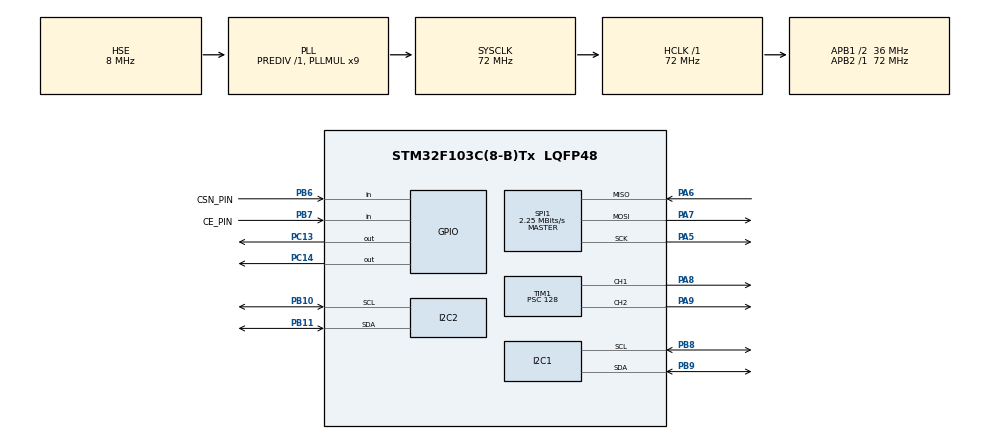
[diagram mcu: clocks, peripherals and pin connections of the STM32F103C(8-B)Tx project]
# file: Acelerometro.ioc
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I2C1.I2C_Mode=I2C_Fast
I2C2.I2C_Mode=I2C_Fast
Mcu.Family=STM32F1
Mcu.Name=STM32F103C(8-B)Tx
Mcu.Package=LQFP48
NVIC.PriorityGroup=NVIC_PRIORITYGROUP_4
PA13.Mode=Serial_Wire
PA13.Signal=SYS_JTMS-SWDIO
PA14.Mode=Serial_Wire
PA14.Signal=SYS_JTCK-SWCLK
PA5.Mode=Full_Duplex_Master
PA5.Signal=SPI1_SCK
PA6.Mode=Full_Duplex_Master
PA6.Signal=SPI1_MISO
PA7.Mode=Full_Duplex_Master
PA7.Signal=SPI1_MOSI
PA8.Signal=S_TIM1_CH1
PA9.Signal=S_TIM1_CH2
PB10.Mode=I2C
PB10.Signal=I2C2_SCL
PB11.Mode=I2C
PB11.Signal=I2C2_SDA
PB6.GPIO_Label=CSN_PIN
PB6.Signal=GPIO_Input
PB7.GPIO_Label=CE_PIN
PB7.Signal=GPIO_Input
PB8.Mode=I2C
PB8.Signal=I2C1_SCL
PB9.Mode=I2C
PB9.Signal=I2C1_SDA
PC13-TAMPER-RTC.Signal=GPIO_Output
PC14-OSC32_IN.Signal=GPIO_Output
PD0-OSC_IN.Mode=HSE-External-Oscillator
PD0-OSC_IN.Signal=RCC_OSC_IN
PD1-OSC_OUT.Mode=HSE-External-Oscillator
PD1-OSC_OUT.Signal=RCC_OSC_OUT
ProjectManager.HeapSize=0x200
ProjectManager.StackSize=0x400
ProjectManager.TargetToolchain=STM32CubeIDE
RCC.AHBFreq_Value=72000000
RCC.APB1CLKDivider=RCC_HCLK_DIV2
RCC.APB1Freq_Value=36000000
RCC.APB1TimFreq_Value=72000000
RCC.APB2Freq_Value=72000000
RCC.APB2TimFreq_Value=72000000
RCC.HCLKFreq_Value=72000000
RCC.PLLMUL=RCC_PLL_MUL9
RCC.PLLSourceVirtual=RCC_PLLSOURCE_HSE
RCC.SYSCLKFreq_VALUE=72000000
RCC.SYSCLKSource=RCC_SYSCLKSOURCE_PLLCLK
RCC.USBFreq_Value=72000000
SH.S_TIM1_CH1.0=TIM1_CH1,PWM Generation1 CH1
SH.S_TIM1_CH2.0=TIM1_CH2,PWM Generation2 CH2
SPI1.BaudRatePrescaler=SPI_BAUDRATEPRESCALER_32
SPI1.CalculateBaudRate=2.25 MBits/s
SPI1.Direction=SPI_DIRECTION_2LINES
SPI1.Mode=SPI_MODE_MASTER
SPI1.VirtualType=VM_MASTER
TIM1.Channel-PWM\ Generation1\ CH1=TIM_CHANNEL_1
TIM1.Channel-PWM\ Generation2\ CH2=TIM_CHANNEL_2
TIM1.Period=1024
TIM1.Prescaler=128
VP_TIM1_VS_ClockSourceINT.Mode=Internal
board=custom

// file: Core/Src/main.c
/* USER CODE BEGIN Header */
/**
  ******************************************************************************
  * @file           : main.c
  * @brief          : Main program body
  ******************************************************************************
  * @attention
  *
  * <h2><center>&copy; Copyright (c) 2020 STMicroelectronics.
  * All rights reserved.</center></h2>
  *
  * This software component is licensed by ST under BSD 3-Clause license,
  * the "License"; You may not use this file except in compliance with the
  * License. You may obtain a copy of the License at:
  *                        opensource.org/licenses/BSD-3-Clause
  *
  ******************************************************************************
  */
/* USER CODE END Header */

#include "main.h"

/* USER CODE BEGIN Includes */
#include "TJ_MPU6050.h"
#include "math.h"

#include "ssd1306.h" // Bibliotecas p usar display oled
#include "fonts.h"
#include "test.h"

/* USER CODE END Includes */

I2C_HandleTypeDef hi2c1;
I2C_HandleTypeDef hi2c2;

SPI_HandleTypeDef hspi1;

TIM_HandleTypeDef htim1;

void SystemClock_Config(void);
static void MX_GPIO_Init(void);
static void MX_I2C1_Init(void);
static void MX_I2C2_Init(void);
static void MX_TIM1_Init(void);
static void MX_SPI1_Init(void);

/* USER CODE BEGIN 0 */
RawData_Def myAccelRaw, myGyroRaw;
ScaledData_Def myAccelScaled, myGyroScaled;
double acc_error_x = 0,acc_error_y = 0, gyro_error_x = 0, gyro_error_y = 0,
	  timePrev = 0, time = 0, elapsed = 0,
	  gyro_angle_x = 0, gyro_angle_y = 0,
	  acc_angle_x = 0, acc_angle_y = 0,
	  final_angle_x = 0, final_angle_y_init = 0, final_angle_y_final = 0, time_PID = 0,
	  erro_init = 0, erro_final = 0, saida = 0, aux_saida, erro_integrado = 0, erro_derivado = 0,
	  time_velocity_initial = 0, time_velocity_final = 0, time_pwm = 0, now_display = 0,
	  angular_velocity = 0;

char angle[5];

const float kp=13,ki=0.25,kd=0,
			setpoint = 3;

int acc_error = 0 ,gyro_error = 0 ,i;
/* USER CODE END 0 */

int main(void)
{
  /* USER CODE BEGIN 1 */
	MPU_ConfigTypeDef myMpuConfig;
  /* USER CODE END 1 */

  /* MCU Configuration--------------------------------------------------------*/

  /* Reset of all peripherals, Initializes the Flash interface and the Systick. */
  HAL_Init();

  /* Configure the system clock */
  SystemClock_Config();

  /* Initialize all configured peripherals */
  MX_GPIO_Init();
  MX_I2C1_Init();
  MX_I2C2_Init();
  MX_TIM1_Init();
  MX_SPI1_Init();
  /* USER CODE BEGIN 2 */

  //printRadioSettings();

  SSD1306_Init();

  MPU6050_Init(&hi2c2);

  HAL_TIM_PWM_Start(&htim1, TIM_CHANNEL_1);
  HAL_TIM_PWM_Start(&htim1, TIM_CHANNEL_2);

  myMpuConfig.Accel_Full_Scale = AFS_SEL_4g;
  myMpuConfig.ClockSource = Internal_8MHz;
  myMpuConfig.CONFIG_DLPF = DLPF_184A_188G_Hz;
  myMpuConfig.Gyro_Full_Scale = FS_SEL_500;
  myMpuConfig.Sleep_Mode_Bit = 0;
  MPU6050_Config(&myMpuConfig);

  /* FUNCIONA SE FOR FAZER MEDIDAS RELATIVAS DE ANGULO.
  //acc_error
  if(acc_error==0){
	  for(i=0;i<200;i++){

		  MPU6050_Get_Accel_RawData(&myAccelRaw);

		  acc_error_x+=atan(myAccelRaw.y/sqrt(pow(myAccelRaw.x,2)+pow(myAccelRaw.z,2)))*(180/3.141592654);
		  acc_error_y+=atan(myAccelRaw.x*-1/sqrt(pow(myAccelRaw.y,2)+pow(myAccelRaw.z,2)))*(180/3.141592654);
		  if(i==199){
			  acc_error_x/=200;
			  acc_error_y/=200;
			  acc_error=1;
		  }
	  }
  }
  //gyro error
  if(gyro_error==0){
	  for(i=0;i<200;i++){
		  MPU6050_Get_Gyro_RawData(&myGyroRaw);

		  gyro_error_x+=(myGyroRaw.x/65.5);
		  gyro_error_y+=(myGyroRaw.y/65.5);
		  if(i==199){
			  gyro_error_x/=200;
			  gyro_error_y/=200;
			  gyro_error=1;
		  }
	  }
  }
  */
  /* USER CODE END 2 */

  /* Infinite loop */
  while (1)
  {

    /* USER CODE BEGIN 3 */
	  HAL_GPIO_WritePin(GPIOC, GPIO_PIN_14,GPIO_PIN_SET);
	  if(HAL_GetTick()-time_velocity_initial>1){
		  time_velocity_initial=HAL_GetTick();

		  timePrev = time;
		  time = HAL_GetTick();
		  elapsed = (time - timePrev) / 1000.0;

		  MPU6050_Get_Gyro_RawData(&myGyroRaw);

		  //gyro_angle_x =  ((myGyroRaw.x/65.5) - gyro_error_x)*elapsed;
		  gyro_angle_y =  ((myGyroRaw.y/65.5) - gyro_error_y)*elapsed;

		  MPU6050_Get_Accel_RawData(&myAccelRaw);

		 // acc_angle_x = atan(myAccelRaw.y/sqrt(pow(myAccelRaw.x,2)+pow(myAccelRaw.z,2)))*(180/3.141592654) - acc_error_x; //RELATIVO
		 // acc_angle_y = atan(myAccelRaw.x*-1/sqrt(pow(myAccelRaw.y,2)+pow(myAccelRaw.z,2)))*(180/3.141592654) - acc_error_y; //RELATIVO
		  acc_angle_y = atan(myAccelRaw.x*-1/sqrt(pow(myAccelRaw.y,2)+pow(myAccelRaw.z,2)))*(180/3.141592654); //ABSOLUTA

		  //final_angle_x = 0.98*(final_angle_x + gyro_angle_x) + 0.02*acc_angle_x;
		  final_angle_y_init = 0.98*(final_angle_y_init + gyro_angle_y) + 0.02*acc_angle_y; // calcula angulo inicial (graus)

		  erro_init = final_angle_y_init - setpoint;
		  erro_integrado+=erro_init;
	  }

	  if(HAL_GetTick()-time_velocity_final>2){
		  time_velocity_final=HAL_GetTick();

		  timePrev = time;
		  time = HAL_GetTick();
		  elapsed = (time - timePrev) / 1000;

		  MPU6050_Get_Gyro_RawData(&myGyroRaw);

		  gyro_angle_y =  ((myGyroRaw.y/65.5) - gyro_error_y)*elapsed;

		  MPU6050_Get_Accel_RawData(&myAccelRaw);

		  acc_angle_y = atan(myAccelRaw.x*-1/sqrt(pow(myAccelRaw.y,2)+pow(myAccelRaw.z,2)))*(180/3.141592654) - acc_error_y;

		  final_angle_y_final = 0.98*(final_angle_y_final + gyro_angle_y) + 0.02*acc_angle_y; // calcula angulo final (graus)

		  erro_final = final_angle_y_final - setpoint;
		  erro_derivado = (erro_final-erro_init)/0.001;

	  }

	  if(HAL_GetTick()-time_PID>5){
		  time_PID=HAL_GetTick();

		  saida = kp*erro_init + ki*erro_integrado + kd*erro_derivado; // devo atualizar o calculo.
		  saida *=(1024/90);
	  }

	  if(HAL_GetTick()-time_pwm>1){
		  time_pwm=HAL_GetTick();
		  HAL_GPIO_TogglePin(GPIOC, GPIO_PIN_13); // pisca o led
		  if(final_angle_y_init<40 && final_angle_y_init>-40){
			  if(saida>=0){
				  TIM1->CCR1 = saida;
				  TIM1->CCR2 = 0;
			  }
			  else if(saida<0){
				  aux_saida=saida*-1;
				  TIM1->CCR1 = 0;
				  TIM1->CCR2 = aux_saida;
			  }
		  }
		  else{
			  TIM1->CCR1 = 0;
			  TIM1->CCR2 = 0;
			  erro_integrado = 0;
		  }

	  }

	  /*

	  //não vou usar mas os pinos são B8 e B9.
	  if(HAL_GetTick()-now_display > 200){
		  now_display = HAL_GetTick();
		  SSD1306_Clear();
		  itoa(final_angle_y_init,angle,10);
		  if(final_angle_y_final>=0){
			  if(final_angle_y_final<10){
				  SSD1306_GotoXY (48,20);
				  SSD1306_Puts (" ", &Font_16x26, SSD1306_COLOR_WHITE);
			  }
			  SSD1306_GotoXY (32,20);
			  SSD1306_Puts (angle, &Font_16x26, SSD1306_COLOR_WHITE);
			  SSD1306_GotoXY (16,20);
			  SSD1306_Puts (" ", &Font_16x26, SSD1306_COLOR_WHITE);
		  }
		  else if(final_angle_y_final<=-1){
			  SSD1306_GotoXY (16,20);
			  SSD1306_Puts (angle, &Font_16x26, SSD1306_COLOR_WHITE);
			  if(final_angle_y_final>-10){
				  SSD1306_GotoXY (48,20);
				  SSD1306_Puts (" ", &Font_16x26, SSD1306_COLOR_WHITE);
			  }
		  }
		  SSD1306_UpdateScreen();
	  }
	  */
  }
  /* USER CODE END 3 */
}

void SystemClock_Config(void)
{
  RCC_OscInitTypeDef RCC_OscInitStruct = {0};
  RCC_ClkInitTypeDef RCC_ClkInitStruct = {0};

  /** Initializes the CPU, AHB and APB busses clocks
  */
  RCC_OscInitStruct.OscillatorType = RCC_OSCILLATORTYPE_HSE;
  RCC_OscInitStruct.HSEState = RCC_HSE_ON;
  RCC_OscInitStruct.HSEPredivValue = RCC_HSE_PREDIV_DIV1;
  RCC_OscInitStruct.HSIState = RCC_HSI_ON;
  RCC_OscInitStruct.PLL.PLLState = RCC_PLL_ON;
  RCC_OscInitStruct.PLL.PLLSource = RCC_PLLSOURCE_HSE;
  RCC_OscInitStruct.PLL.PLLMUL = RCC_PLL_MUL9;
  if (HAL_RCC_OscConfig(&RCC_OscInitStruct) != HAL_OK)
  {
    Error_Handler();
  }
  /** Initializes the CPU, AHB and APB busses clocks
  */
  RCC_ClkInitStruct.ClockType = RCC_CLOCKTYPE_HCLK|RCC_CLOCKTYPE_SYSCLK
                              |RCC_CLOCKTYPE_PCLK1|RCC_CLOCKTYPE_PCLK2;
  RCC_ClkInitStruct.SYSCLKSource = RCC_SYSCLKSOURCE_PLLCLK;
  RCC_ClkInitStruct.AHBCLKDivider = RCC_SYSCLK_DIV1;
  RCC_ClkInitStruct.APB1CLKDivider = RCC_HCLK_DIV2;
  RCC_ClkInitStruct.APB2CLKDivider = RCC_HCLK_DIV1;

  if (HAL_RCC_ClockConfig(&RCC_ClkInitStruct, FLASH_LATENCY_2) != HAL_OK)
  {
    Error_Handler();
  }
}

static void MX_I2C1_Init(void)
{

  hi2c1.Instance = I2C1;
  hi2c1.Init.ClockSpeed = 400000;
  hi2c1.Init.DutyCycle = I2C_DUTYCYCLE_2;
  hi2c1.Init.OwnAddress1 = 0;
  hi2c1.Init.AddressingMode = I2C_ADDRESSINGMODE_7BIT;
  hi2c1.Init.DualAddressMode = I2C_DUALADDRESS_DISABLE;
  hi2c1.Init.OwnAddress2 = 0;
  hi2c1.Init.GeneralCallMode = I2C_GENERALCALL_DISABLE;
  hi2c1.Init.NoStretchMode = I2C_NOSTRETCH_DISABLE;
  if (HAL_I2C_Init(&hi2c1) != HAL_OK)
  {
    Error_Handler();
  }

}

static void MX_I2C2_Init(void)
{

  hi2c2.Instance = I2C2;
  hi2c2.Init.ClockSpeed = 400000;
  hi2c2.Init.DutyCycle = I2C_DUTYCYCLE_2;
  hi2c2.Init.OwnAddress1 = 0;
  hi2c2.Init.AddressingMode = I2C_ADDRESSINGMODE_7BIT;
  hi2c2.Init.DualAddressMode = I2C_DUALADDRESS_DISABLE;
  hi2c2.Init.OwnAddress2 = 0;
  hi2c2.Init.GeneralCallMode = I2C_GENERALCALL_DISABLE;
  hi2c2.Init.NoStretchMode = I2C_NOSTRETCH_DISABLE;
  if (HAL_I2C_Init(&hi2c2) != HAL_OK)
  {
    Error_Handler();
  }

}

static void MX_SPI1_Init(void)
{

  /* SPI1 parameter configuration*/
  hspi1.Instance = SPI1;
  hspi1.Init.Mode = SPI_MODE_MASTER;
  hspi1.Init.Direction = SPI_DIRECTION_2LINES;
  hspi1.Init.DataSize = SPI_DATASIZE_8BIT;
  hspi1.Init.CLKPolarity = SPI_POLARITY_LOW;
  hspi1.Init.CLKPhase = SPI_PHASE_1EDGE;
  hspi1.Init.NSS = SPI_NSS_SOFT;
  hspi1.Init.BaudRatePrescaler = SPI_BAUDRATEPRESCALER_32;
  hspi1.Init.FirstBit = SPI_FIRSTBIT_MSB;
  hspi1.Init.TIMode = SPI_TIMODE_DISABLE;
  hspi1.Init.CRCCalculation = SPI_CRCCALCULATION_DISABLE;
  hspi1.Init.CRCPolynomial = 10;
  if (HAL_SPI_Init(&hspi1) != HAL_OK)
  {
    Error_Handler();
  }

}

static void MX_TIM1_Init(void)
{

  TIM_ClockConfigTypeDef sClockSourceConfig = {0};
  TIM_MasterConfigTypeDef sMasterConfig = {0};
  TIM_OC_InitTypeDef sConfigOC = {0};
  TIM_BreakDeadTimeConfigTypeDef sBreakDeadTimeConfig = {0};

  htim1.Instance = TIM1;
  htim1.Init.Prescaler = 128;
  htim1.Init.CounterMode = TIM_COUNTERMODE_UP;
  htim1.Init.Period = 1024;
  htim1.Init.ClockDivision = TIM_CLOCKDIVISION_DIV1;
  htim1.Init.RepetitionCounter = 0;
  htim1.Init.AutoReloadPreload = TIM_AUTORELOAD_PRELOAD_DISABLE;
  if (HAL_TIM_Base_Init(&htim1) != HAL_OK)
  {
    Error_Handler();
  }
  sClockSourceConfig.ClockSource = TIM_CLOCKSOURCE_INTERNAL;
  if (HAL_TIM_ConfigClockSource(&htim1, &sClockSourceConfig) != HAL_OK)
  {
    Error_Handler();
  }
  if (HAL_TIM_PWM_Init(&htim1) != HAL_OK)
  {
    Error_Handler();
  }
  sMasterConfig.MasterOutputTrigger = TIM_TRGO_RESET;
  sMasterConfig.MasterSlaveMode = TIM_MASTERSLAVEMODE_DISABLE;
  if (HAL_TIMEx_MasterConfigSynchronization(&htim1, &sMasterConfig) != HAL_OK)
  {
    Error_Handler();
  }
  sConfigOC.OCMode = TIM_OCMODE_PWM1;
  sConfigOC.Pulse = 0;
  sConfigOC.OCPolarity = TIM_OCPOLARITY_HIGH;
  sConfigOC.OCNPolarity = TIM_OCNPOLARITY_HIGH;
  sConfigOC.OCFastMode = TIM_OCFAST_DISABLE;
  sConfigOC.OCIdleState = TIM_OCIDLESTATE_RESET;
  sConfigOC.OCNIdleState = TIM_OCNIDLESTATE_RESET;
  if (HAL_TIM_PWM_ConfigChannel(&htim1, &sConfigOC, TIM_CHANNEL_1) != HAL_OK)
  {
    Error_Handler();
  }
  if (HAL_TIM_PWM_ConfigChannel(&htim1, &sConfigOC, TIM_CHANNEL_2) != HAL_OK)
  {
    Error_Handler();
  }
  sBreakDeadTimeConfig.OffStateRunMode = TIM_OSSR_DISABLE;
  sBreakDeadTimeConfig.OffStateIDLEMode = TIM_OSSI_DISABLE;
  sBreakDeadTimeConfig.LockLevel = TIM_LOCKLEVEL_OFF;
  sBreakDeadTimeConfig.DeadTime = 0;
  sBreakDeadTimeConfig.BreakState = TIM_BREAK_DISABLE;
  sBreakDeadTimeConfig.BreakPolarity = TIM_BREAKPOLARITY_HIGH;
  sBreakDeadTimeConfig.AutomaticOutput = TIM_AUTOMATICOUTPUT_DISABLE;
  if (HAL_TIMEx_ConfigBreakDeadTime(&htim1, &sBreakDeadTimeConfig) != HAL_OK)
  {
    Error_Handler();
  }
  HAL_TIM_MspPostInit(&htim1);

}

static void MX_GPIO_Init(void)
{
  GPIO_InitTypeDef GPIO_InitStruct = {0};

  /* GPIO Ports Clock Enable */
  __HAL_RCC_GPIOC_CLK_ENABLE();
  __HAL_RCC_GPIOD_CLK_ENABLE();
  __HAL_RCC_GPIOA_CLK_ENABLE();
  __HAL_RCC_GPIOB_CLK_ENABLE();

  /*Configure GPIO pin Output Level */
  HAL_GPIO_WritePin(GPIOC, GPIO_PIN_13|GPIO_PIN_14, GPIO_PIN_RESET);

  /*Configure GPIO pins : PC13 PC14 */
  GPIO_InitStruct.Pin = GPIO_PIN_13|GPIO_PIN_14;
  GPIO_InitStruct.Mode = GPIO_MODE_OUTPUT_PP;
  GPIO_InitStruct.Pull = GPIO_NOPULL;
  GPIO_InitStruct.Speed = GPIO_SPEED_FREQ_LOW;
  HAL_GPIO_Init(GPIOC, &GPIO_InitStruct);

  /*Configure GPIO pins : CSN_PIN_Pin CE_PIN_Pin */
  GPIO_InitStruct.Pin = CSN_PIN_Pin|CE_PIN_Pin;
  GPIO_InitStruct.Mode = GPIO_MODE_INPUT;
  GPIO_InitStruct.Pull = GPIO_NOPULL;
  HAL_GPIO_Init(GPIOB, &GPIO_InitStruct);

}

void Error_Handler(void)
{
}

/************************ (C) COPYRIGHT STMicroelectronics *****END OF FILE****/
